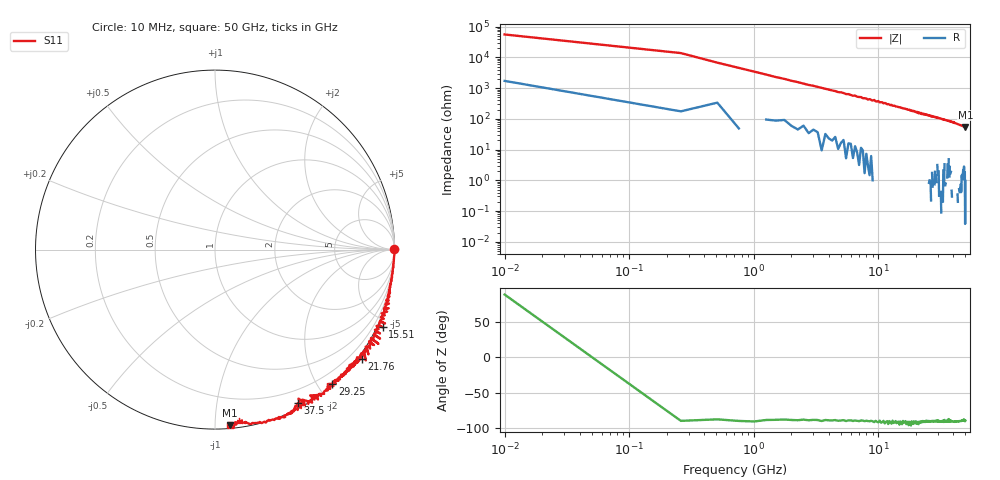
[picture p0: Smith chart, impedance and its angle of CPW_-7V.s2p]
!Agilent Technologies,N5227A,US51270434,A.10.00.00
!Agilent N5227A: A.10.00.00
!Date: Friday, February 13, 2026 14:19:30
!Correction: S11(Full 1 Port(1))
!S21(Off)
!S12(Off)
!S22(Off)
!S2P File: Measurements: S11, S21, S12, S22:
# Hz S  dB  R 50
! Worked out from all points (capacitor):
!   201 points, 10 MHz to 50 GHz, reference 50 ohm
!   read as one part to ground: C = 45.9 fF near 259.9 MHz
!   lowest |Z| = 54.5 ohm at 50 GHz (marker M1)
!   S11 on the Smith chart (normalised r, x): 10 MHz: open; 15.51 GHz: -0.31, -4.52; 21.76 GHz: -0.11, -3.02; 29.25 GHz: 0.02, -2.20; 37.5 GHz: 0.05, -1.67; 50 GHz: 0.02, -1.09
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1e7  -0.00 0.1  -200.00 45.0  -200.00 45.0  -200.00 45.0
8.5083e9  -0.01 -12.9  -200.00 45.0  -200.00 45.0  -200.00 45.0
1.55069e10  0.25 -24.8  -200.00 45.0  -200.00 45.0  -200.00 45.0
1.575685e10  -0.04 -25.3  -200.00 45.0  -200.00 45.0  -200.00 45.0
1.675665e10  0.27 -26.9  -200.00 45.0  -200.00 45.0  -200.00 45.0
2.10058e10  0.36 -36.3  -200.00 45.0  -200.00 45.0  -200.00 45.0
2.125575e10  0.03 -34.2  -200.00 45.0  -200.00 45.0  -200.00 45.0
2.175565e10  0.18 -36.6  -200.00 45.0  -200.00 45.0  -200.00 45.0
2.20056e10  -0.01 -35.4  -200.00 45.0  -200.00 45.0  -200.00 45.0
2.225555e10  0.11 -38.5  -200.00 45.0  -200.00 45.0  -200.00 45.0
2.275545e10  -0.05 -37.1  -200.00 45.0  -200.00 45.0  -200.00 45.0
2.30054e10  0.08 -39.7  -200.00 45.0  -200.00 45.0  -200.00 45.0
2.5005e10  -0.09 -42.1  -200.00 45.0  -200.00 45.0  -200.00 45.0
2.925415e10  -0.05 -48.9  -200.00 45.0  -200.00 45.0  -200.00 45.0
3.35033e10  0.11 -55.5  -200.00 45.0  -200.00 45.0  -200.00 45.0
3.75025e10  -0.25 -61.7  -200.00 45.0  -200.00 45.0  -200.00 45.0
3.775245e10  0.05 -62.7  -200.00 45.0  -200.00 45.0  -200.00 45.0
3.975205e10  0.00 -66.3  -200.00 45.0  -200.00 45.0  -200.00 45.0
4.025195e10  0.05 -64.7  -200.00 45.0  -200.00 45.0  -200.00 45.0
4.05019e10  0.02 -67.5  -200.00 45.0  -200.00 45.0  -200.00 45.0
4.175165e10  0.08 -69.1  -200.00 45.0  -200.00 45.0  -200.00 45.0
5e10  -0.15 -85.1  -200.00 45.0  -200.00 45.0  -200.00 45.0
